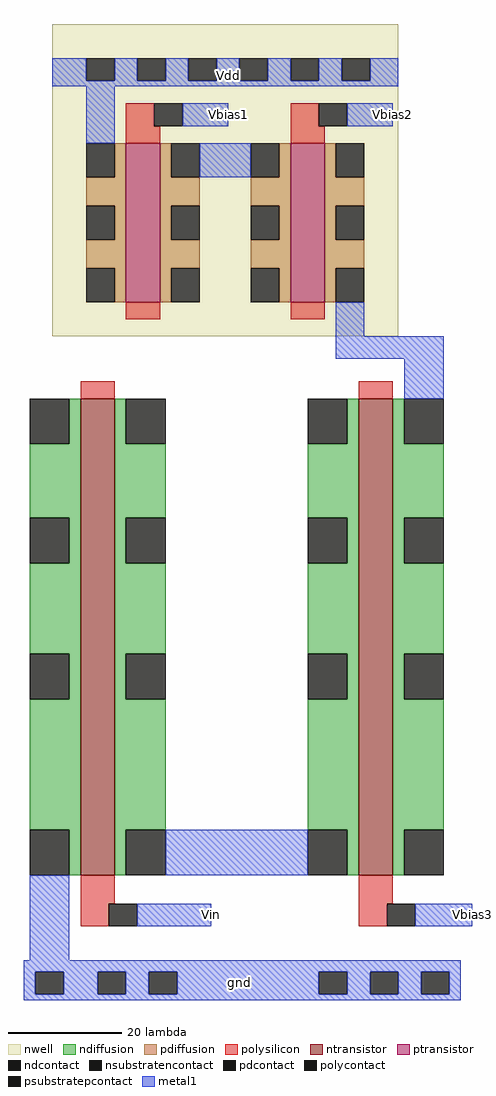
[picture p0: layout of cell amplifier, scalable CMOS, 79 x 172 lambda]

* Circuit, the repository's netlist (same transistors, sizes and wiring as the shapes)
* SPICE3 file created from amplifier.ext - technology: scmos

.option scale=0.09u

M1000 a_n4_55# Vin gnd Gnd nfet w=84 l=6
+  ad=0 pd=0 as=0 ps=0
M1001 a_33_156# Vbias2 a_4_156# Vdd pfet w=28 l=6
+  ad=0 pd=0 as=0 ps=0
M1002 a_33_156# Vbias3 a_n4_55# Gnd nfet w=84 l=6
+  ad=0 pd=0 as=0 ps=0
M1003 a_4_156# Vbias1 Vdd Vdd pfet w=28 l=6
+  ad=0 pd=0 as=0 ps=0

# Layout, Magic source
magic
tech scmos
<< nwell >>
rect -15 150 46 205
<< ntransistor >>
rect -10 55 -4 139
rect 39 55 45 139
<< ptransistor >>
rect -2 156 4 184
rect 27 156 33 184
<< ndiffusion >>
rect -12 131 -10 139
rect -19 118 -10 131
rect -12 110 -10 118
rect -19 94 -10 110
rect -12 86 -10 94
rect -19 63 -10 86
rect -12 55 -10 63
rect -4 131 -2 139
rect -4 118 5 131
rect -4 110 -2 118
rect -4 94 5 110
rect -4 86 -2 94
rect -4 63 5 86
rect -4 55 -2 63
rect 37 131 39 139
rect 30 118 39 131
rect 37 110 39 118
rect 30 94 39 110
rect 37 86 39 94
rect 30 63 39 86
rect 37 55 39 63
rect 45 131 47 139
rect 45 118 54 131
rect 45 110 47 118
rect 45 94 54 110
rect 45 86 47 94
rect 45 63 54 86
rect 45 55 47 63
<< pdiffusion >>
rect -4 178 -2 184
rect -9 173 -2 178
rect -4 167 -2 173
rect -9 162 -2 167
rect -4 156 -2 162
rect 4 178 6 184
rect 4 173 11 178
rect 4 167 6 173
rect 4 162 11 167
rect 4 156 6 162
rect 25 178 27 184
rect 20 173 27 178
rect 25 167 27 173
rect 20 162 27 167
rect 25 156 27 162
rect 33 178 35 184
rect 33 173 40 178
rect 33 167 35 173
rect 33 162 40 167
rect 33 156 35 162
<< ndcontact >>
rect -19 131 -12 139
rect -19 110 -12 118
rect -19 86 -12 94
rect -19 55 -12 63
rect -2 131 5 139
rect -2 110 5 118
rect -2 86 5 94
rect -2 55 5 63
rect 30 131 37 139
rect 30 110 37 118
rect 30 86 37 94
rect 30 55 37 63
rect 47 131 54 139
rect 47 110 54 118
rect 47 86 54 94
rect 47 55 54 63
<< pdcontact >>
rect -9 178 -4 184
rect -9 167 -4 173
rect -9 156 -4 162
rect 6 178 11 184
rect 6 167 11 173
rect 6 156 11 162
rect 20 178 25 184
rect 20 167 25 173
rect 20 156 25 162
rect 35 178 40 184
rect 35 167 40 173
rect 35 156 40 162
<< psubstratepcontact >>
rect -18 34 -13 38
rect -7 34 -2 38
rect 2 34 7 38
rect 32 34 37 38
rect 41 34 46 38
rect 50 34 55 38
<< nsubstratencontact >>
rect -9 195 -4 199
rect 0 195 5 199
rect 9 195 14 199
rect 18 195 23 199
rect 27 195 32 199
rect 36 195 41 199
<< polysilicon >>
rect -2 187 3 191
rect 27 187 32 191
rect -2 184 4 187
rect 27 184 33 187
rect -2 153 4 156
rect 27 153 33 156
rect -10 139 -4 142
rect 39 139 45 142
rect -10 50 -4 55
rect 39 50 45 55
rect -10 46 -5 50
rect 39 46 44 50
<< polycontact >>
rect 3 187 8 191
rect 32 187 37 191
rect -5 46 0 50
rect 44 46 49 50
<< metal1 >>
rect -15 195 -9 199
rect -4 195 0 199
rect 5 195 9 199
rect 14 195 18 199
rect 23 195 27 199
rect 32 195 36 199
rect 41 195 46 199
rect -15 194 46 195
rect -9 184 -4 194
rect 8 187 16 191
rect 37 187 45 191
rect 11 178 20 184
rect 35 150 40 156
rect 35 146 54 150
rect 47 139 54 146
rect 5 55 30 63
rect -19 40 -12 55
rect 0 46 13 50
rect 49 46 59 50
rect -20 38 57 40
rect -20 34 -18 38
rect -13 34 -7 38
rect -2 34 2 38
rect 7 34 32 38
rect 37 34 41 38
rect 46 34 50 38
rect 55 34 57 38
rect -20 33 57 34
<< labels >>
rlabel metal1 16 187 16 191 1 Vbias1
rlabel metal1 45 187 45 191 1 Vbias2
rlabel metal1 18 36 18 36 1 gnd
rlabel metal1 16 196 16 196 1 Vdd
rlabel metal1 13 46 13 50 1 Vin
rlabel metal1 59 46 59 50 7 Vbias3
<< end >>
